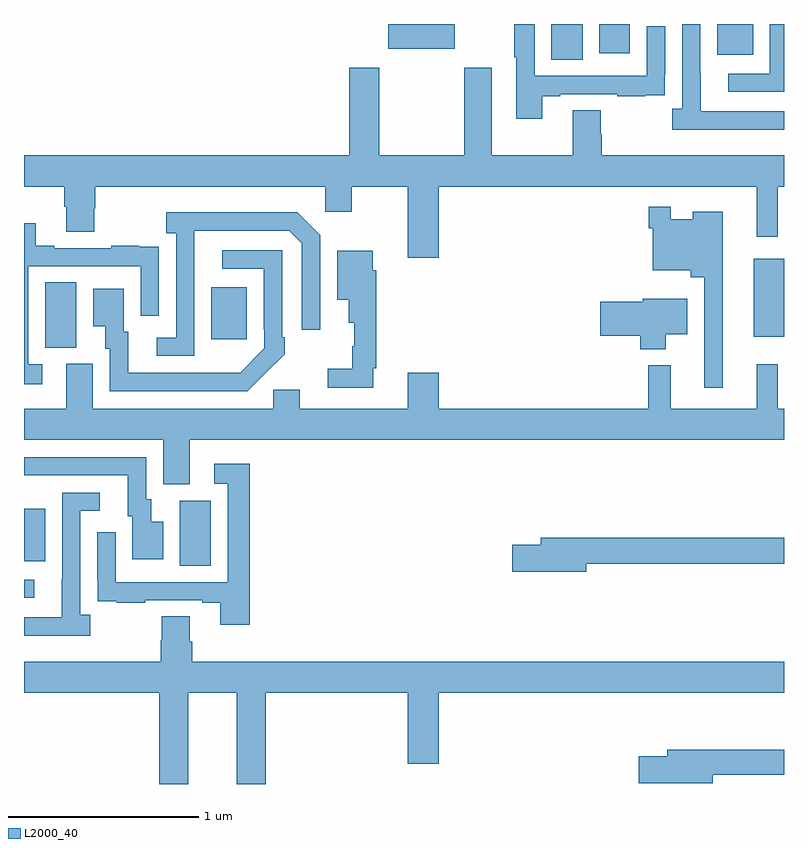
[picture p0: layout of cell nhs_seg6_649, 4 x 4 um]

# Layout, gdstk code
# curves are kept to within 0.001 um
import gdstk
lib = gdstk.Library(unit=1e-6, precision=1e-09)
def R(c, l, rs):  # rectangles x0, y0, x1, y1
    for r in rs: c.add(gdstk.rectangle(r[:2], r[2:], *l))
def P(c, l, *ps):  # polygons
    for p in ps: c.add(gdstk.Polygon(p, *l))
L2000_40 = (2000, 40)

nhs_seg6_649 = lib.new_cell('nhs_seg6_649')
R(nhs_seg6_649, L2000_40, [(151,970.479,151.054,970.575), (151.82,970.648,151.984,970.992), (151,970.673,151.111,970.948), (151.112,971.797,151.276,972.14), (151.985,971.841,152.173,972.115), (154.841,971.855,155,972.265), (153.776,973.312,153.94,973.5), (154.649,973.337,154.837,973.5), (154.028,973.347,154.189,973.5), (152.918,973.37,153.268,973.5)])
P(nhs_seg6_649, L2000_40, [(155,973.041),(154.561,973.041),(154.561,973.241),(154.56,973.241),(154.56,973.5),(154.464,973.5),(154.464,973.054),(154.413,973.054),(154.413,972.944),(155,972.944)],
  [(155,973.5),(154.926,973.5),(154.926,973.239),(154.707,973.239),(154.707,973.143),(155,973.143)],
  [(153.727,973.119),(153.823,973.119),(153.823,973.131),(154.123,973.131),(154.123,973.119),(154.271,973.119),(154.271,973.125),(154.373,973.125),(154.373,973.234),(154.374,973.234),(154.374,973.489),(154.278,973.489),(154.278,973.227),(153.687,973.227),(153.687,973.5),(153.579,973.5),(153.579,973.324),(153.591,973.324),(153.591,973.002),(153.727,973.002)],
  [(153.184,972.644),(154.856,972.644),(154.856,972.381),(154.966,972.381),(154.966,972.644),(155,972.644),(155,972.808),(154.04,972.808),(154.04,972.921),(154.035,972.921),(154.035,973.046),(153.887,973.046),(153.887,972.808),(153.463,972.808),(153.463,973.27),(153.316,973.27),(153.316,972.808),(152.871,972.808),(152.871,973.27),(152.711,973.27),(152.711,972.808),(151,972.808),(151,972.644),(151.211,972.644),(151.211,972.538),(151.223,972.538),(151.223,972.406),(151.371,972.406),(151.371,972.531),(151.376,972.531),(151.376,972.644),(152.586,972.644),(152.586,972.513),(152.725,972.513),(152.725,972.644),(153.02,972.644),(153.02,972.27),(153.184,972.27)],
  [(154.678,972.511),(154.52,972.511),(154.52,972.472),(154.404,972.472),(154.404,972.538),(154.288,972.538),(154.288,972.425),(154.308,972.425),(154.308,972.203),(154.508,972.203),(154.508,972.167),(154.581,972.167),(154.581,971.586),(154.678,971.586)],
  [(151.896,972.211),(151.897,972.411),(152.397,972.411),(152.463,972.345),(152.463,971.892),(152.559,971.892),(152.559,972.387),(152.438,972.508),(151.749,972.508),(151.749,972.398),(151.8,972.398),(151.8,971.85),(151.698,971.85),(151.698,971.754),(151.896,971.754)],
  [(151.096,971.709),(151.023,971.709),(151.023,972.225),(151.614,972.225),(151.614,971.964),(151.71,971.964),(151.71,972.218),(151.709,972.218),(151.709,972.327),(151.607,972.327),(151.607,972.334),(151.459,972.334),(151.459,972.321),(151.159,972.321),(151.159,972.334),(151.063,972.334),(151.063,972.451),(151,972.451),(151,971.604),(151.096,971.604)],
  [(152.267,971.659),(152.268,971.658),(152.373,971.763),(152.373,971.851),(152.358,971.851),(152.358,972.309),(152.043,972.309),(152.043,972.213),(152.262,972.213),(152.262,971.893),(152.265,971.893),(152.265,971.793),(152.137,971.665),(151.549,971.664),(151.549,971.88),(151.525,971.88),(151.525,972.106),(151.364,972.106),(151.364,971.909),(151.427,971.909),(151.427,971.79),(151.452,971.79),(151.452,971.568),(152.176,971.568)],
  [(152.837,971.689),(152.855,971.689),(152.855,972.203),(152.836,972.203),(152.836,972.307),(152.648,972.307),(152.648,972.05),(152.708,972.05),(152.708,971.927),(152.738,971.927),(152.738,971.805),(152.727,971.805),(152.727,971.685),(152.598,971.685),(152.598,971.586),(152.837,971.586)],
  [(154.378,971.867),(154.492,971.867),(154.492,972.055),(154.256,972.055),(154.256,972.038),(154.032,972.038),(154.032,971.86),(154.244,971.86),(154.244,971.789),(154.378,971.789)],
  [(151.873,971.312),(155,971.312),(155,971.476),(154.966,971.476),(154.966,971.71),(154.856,971.71),(154.856,971.476),(154.403,971.476),(154.403,971.704),(154.285,971.704),(154.285,971.476),(153.184,971.476),(153.184,971.665),(153.02,971.665),(153.02,971.476),(152.452,971.476),(152.452,971.574),(152.313,971.574),(152.313,971.476),(151.363,971.476),(151.363,971.712),(151.223,971.712),(151.223,971.476),(151,971.476),(151,971.312),(151.733,971.312),(151.733,971.077),(151.873,971.077)],
  [(151.732,970.879),(151.669,970.879),(151.669,970.998),(151.644,970.998),(151.644,971.22),(151,971.22),(151,971.124),(151.547,971.124),(151.547,970.908),(151.571,970.908),(151.571,970.683),(151.732,970.683)],
  [(152.189,971.185),(152.001,971.185),(152.001,971.079),(152.073,971.079),(152.073,970.563),(151.482,970.563),(151.482,970.825),(151.386,970.825),(151.386,970.57),(151.387,970.57),(151.387,970.461),(151.489,970.461),(151.489,970.455),(151.637,970.455),(151.637,970.467),(151.937,970.467),(151.937,970.455),(152.033,970.455),(152.033,970.338),(152.189,970.338)],
  [(151.348,970.39),(151.296,970.39),(151.296,970.938),(151.399,970.938),(151.399,971.034),(151.2,971.034),(151.2,970.577),(151.199,970.577),(151.199,970.377),(151,970.377),(151,970.28),(151.348,970.28)],
  [(153.958,970.66),(155,970.66),(155,970.796),(153.719,970.796),(153.719,970.76),(153.57,970.76),(153.57,970.618),(153.958,970.618)],
  [(151.864,969.98),(152.12,969.98),(152.12,969.5),(152.273,969.5),(152.273,969.98),(153.02,969.98),(153.02,969.606),(153.184,969.606),(153.184,969.98),(155,969.98),(155,970.144),(151.886,970.144),(151.886,970.25),(151.873,970.25),(151.873,970.382),(151.726,970.382),(151.726,970.257),(151.721,970.257),(151.721,970.144),(151,970.144),(151,969.98),(151.712,969.98),(151.712,969.5),(151.864,969.5)],
  [(154.624,969.55),(155,969.55),(155,969.679),(154.385,969.679),(154.385,969.645),(154.236,969.645),(154.236,969.503),(154.624,969.503)])

lib.write_gds('nhs_seg6_649.gds')
